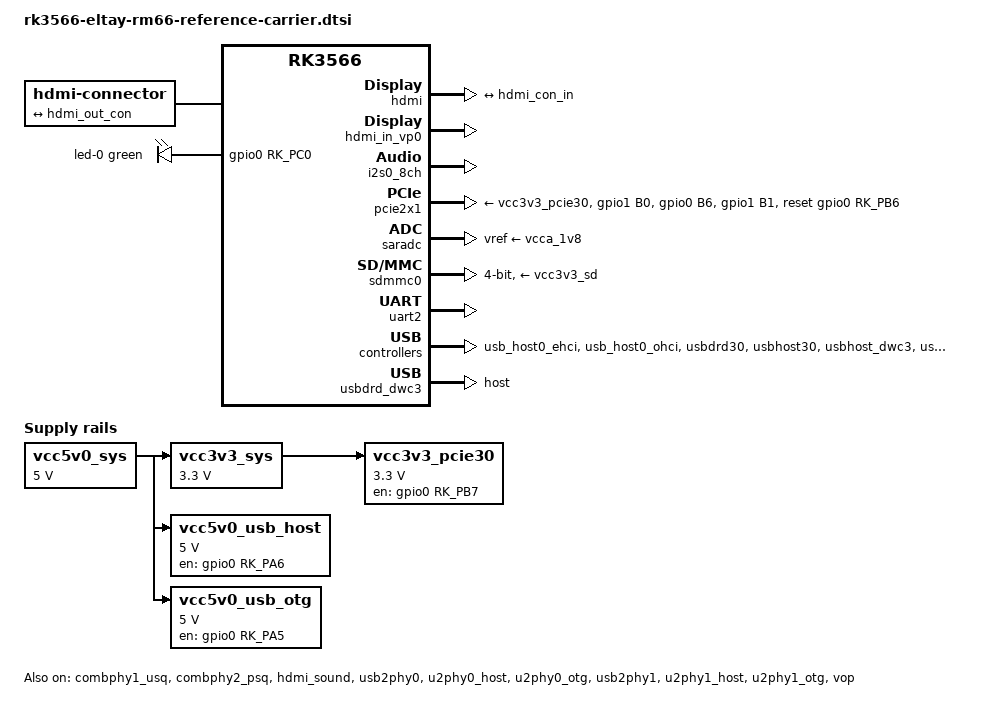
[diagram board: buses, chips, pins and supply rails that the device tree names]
// SPDX-License-Identifier: (GPL-2.0+ OR MIT)

/*
 * EXPERIMENTAL reference carrier composition for ELTAY RM66 — vendor BSP 6.1
 * flavor. Include after rk3566-eltay-rm66.dtsi.
 *
 * Port of the mainline rk3566-eltay-rm66-reference-carrier.dtsi to the BSP
 * bindings: the SoC dtsi pre-wires the HDMI/VOP graph (hdmi_in_vp0 is linked
 * to vp0_out_hdmi, both endpoints exist with status = "disabled"), so this
 * file only flips statuses and adds the connector-side output endpoint.
 * The generic DTB uses this reference wiring; it is not a claim that an
 * arbitrary CM4 carrier has the same power switches, pinmux or port roles.
 * Camera/CSI nodes are intentionally absent here (see the SoM dtsi header).
 */

#include <dt-bindings/leds/common.h>
#include <dt-bindings/soc/rockchip,vop2.h>

/ {
	aliases {
		mmc1 = &sdmmc0;
	};

	chosen {
		stdout-path = "serial2:1500000n8";
	};

	hdmi-con {
		compatible = "hdmi-connector";
		type = "a";

		port {
			hdmi_con_in: endpoint {
				remote-endpoint = <&hdmi_out_con>;
			};
		};
	};

	leds {
		compatible = "gpio-leds";
		pinctrl-names = "default";
		pinctrl-0 = <&work_led>;

		led-0 {
			color = <LED_COLOR_ID_GREEN>;
			default-state = "on";
			function = LED_FUNCTION_HEARTBEAT;
			gpios = <&gpio0 RK_PC0 GPIO_ACTIVE_HIGH>;
			linux,default-trigger = "heartbeat";
		};
	};

	vcc3v3_pcie30: regulator-3v3-vcc-pcie30 {
		compatible = "regulator-fixed";
		enable-active-high;
		gpios = <&gpio0 RK_PB7 GPIO_ACTIVE_HIGH>;
		pinctrl-names = "default";
		pinctrl-0 = <&pcie20_pwren>;
		regulator-name = "vcc3v3_pcie30";
		regulator-min-microvolt = <3300000>;
		regulator-max-microvolt = <3300000>;
		vin-supply = <&vcc3v3_sys>;
	};

	vcc3v3_sys: regulator-3v3-vcc-sys {
		compatible = "regulator-fixed";
		regulator-name = "vcc3v3_sys";
		regulator-always-on;
		regulator-boot-on;
		regulator-min-microvolt = <3300000>;
		regulator-max-microvolt = <3300000>;
		vin-supply = <&vcc5v0_sys>;
	};

	vcc5v0_sys: regulator-5v0-vcc-sys {
		compatible = "regulator-fixed";
		regulator-name = "vcc5v0_sys";
		regulator-always-on;
		regulator-boot-on;
		regulator-min-microvolt = <5000000>;
		regulator-max-microvolt = <5000000>;
	};

	vcc5v0_usb_host: regulator-5v0-vcc-usb-host {
		compatible = "regulator-fixed";
		enable-active-high;
		gpios = <&gpio0 RK_PA6 GPIO_ACTIVE_HIGH>;
		pinctrl-names = "default";
		pinctrl-0 = <&usb_host_pwren_h>;
		regulator-name = "vcc5v0_usb_host";
		regulator-min-microvolt = <5000000>;
		regulator-max-microvolt = <5000000>;
		vin-supply = <&vcc5v0_sys>;
	};

	vcc5v0_usb_otg: regulator-5v0-vcc-usb-otg {
		compatible = "regulator-fixed";
		enable-active-high;
		gpios = <&gpio0 RK_PA5 GPIO_ACTIVE_HIGH>;
		pinctrl-names = "default";
		pinctrl-0 = <&usb_otg_pwren_h>;
		regulator-name = "vcc5v0_usb_otg";
		regulator-min-microvolt = <5000000>;
		regulator-max-microvolt = <5000000>;
		vin-supply = <&vcc5v0_sys>;
	};
};

&combphy1_usq {
	status = "okay";
};

&combphy2_psq {
	status = "okay";
};

&hdmi {
	avdd-0v9-supply = <&vdda0v9_image>;
	avdd-1v8-supply = <&vcca1v8_image>;
	status = "okay";

	port@1 {
		reg = <1>;
		hdmi_out_con: endpoint {
			remote-endpoint = <&hdmi_con_in>;
		};
	};
};

/* The SoC dtsi pre-wires hdmi_in_vp0 <-> vp0_out_hdmi; only enable it. */
&hdmi_in_vp0 {
	status = "okay";
};

&hdmi_sound {
	status = "okay";
};

&i2s0_8ch {
	status = "okay";
};

&pcie2x1 {
	pinctrl-names = "default";
	pinctrl-0 = <&pcie20_pins>;
	reset-gpios = <&gpio0 RK_PB6 GPIO_ACTIVE_HIGH>;
	vpcie3v3-supply = <&vcc3v3_pcie30>;
	status = "okay";
};

&saradc {
	vref-supply = <&vcca_1v8>;
	status = "okay";
};

&sdmmc0 {
	bus-width = <4>;
	cap-sd-highspeed;
	disable-wp;
	pinctrl-names = "default";
	pinctrl-0 = <&sdmmc0_bus4 &sdmmc0_clk &sdmmc0_cmd &sdmmc0_det>;
	vmmc-supply = <&vcc3v3_sd>;
	vqmmc-supply = <&vccio_sd>;
	status = "okay";
};

&uart2 {
	status = "okay";
};

&usb_host0_ehci {
	status = "okay";
};

&usb_host0_ohci {
	status = "okay";
};

/* BSP names the USB3 controllers usbdrd30/usbhost30 with dwc3 children;
 * the fcc00000 port keeps the reference-carrier host-only role. */
&usbdrd30 {
	status = "okay";
};

&usbdrd_dwc3 {
	dr_mode = "host";
	status = "okay";
};

&usbhost30 {
	status = "okay";
};

&usbhost_dwc3 {
	status = "okay";
};

&usb_host1_ehci {
	status = "okay";
};

&usb_host1_ohci {
	status = "okay";
};

&usb2phy0 {
	status = "okay";
};

&u2phy0_host {
	phy-supply = <&vcc5v0_usb_host>;
	status = "okay";
};

&u2phy0_otg {
	phy-supply = <&vcc5v0_usb_otg>;
	status = "okay";
};

&usb2phy1 {
	status = "okay";
};

&u2phy1_host {
	phy-supply = <&vcc5v0_usb_host>;
	status = "okay";
};

&u2phy1_otg {
	phy-supply = <&vcc5v0_usb_host>;
	status = "okay";
};

&vop {
	assigned-clocks = <&cru DCLK_VOP0>, <&cru DCLK_VOP1>;
	assigned-clock-parents = <&pmucru PLL_HPLL>, <&cru PLL_VPLL>;
	status = "okay";
};

&vop_mmu {
	status = "okay";
};

&pinctrl {
	leds {
		work_led: work-led {
			rockchip,pins = <0 RK_PC0 RK_FUNC_GPIO &pcfg_pull_none>;
		};
	};

	pcie {
		pcie20_pins: pcie20-pins {
			rockchip,pins =
				<1 RK_PB0 4 &pcfg_pull_none>,
				<0 RK_PB6 RK_FUNC_GPIO &pcfg_pull_none>,
				<1 RK_PB1 4 &pcfg_pull_none>;
		};

		pcie20_pwren: pcie20-pwren {
			rockchip,pins = <0 RK_PB7 RK_FUNC_GPIO &pcfg_pull_none>;
		};
	};

	usb {
		usb_host_pwren_h: usb-host-pwren-h {
			rockchip,pins = <0 RK_PA6 RK_FUNC_GPIO &pcfg_pull_none>;
		};

		usb_otg_pwren_h: usb-otg-pwren-h {
			rockchip,pins = <0 RK_PA5 RK_FUNC_GPIO &pcfg_pull_none>;
		};
	};
};

/* Power entering the module from the reference system supply. */
&rk809 {
	vcc1-supply = <&vcc3v3_sys>;
	vcc2-supply = <&vcc3v3_sys>;
	vcc3-supply = <&vcc3v3_sys>;
	vcc4-supply = <&vcc3v3_sys>;
	vcc5-supply = <&vcc3v3_sys>;
	vcc6-supply = <&vcc3v3_sys>;
	vcc7-supply = <&vcc3v3_sys>;
	vcc8-supply = <&vcc3v3_sys>;
	vcc9-supply = <&vcc3v3_sys>;
};

&vdd_cpu {
	vin-supply = <&vcc3v3_sys>;
};
